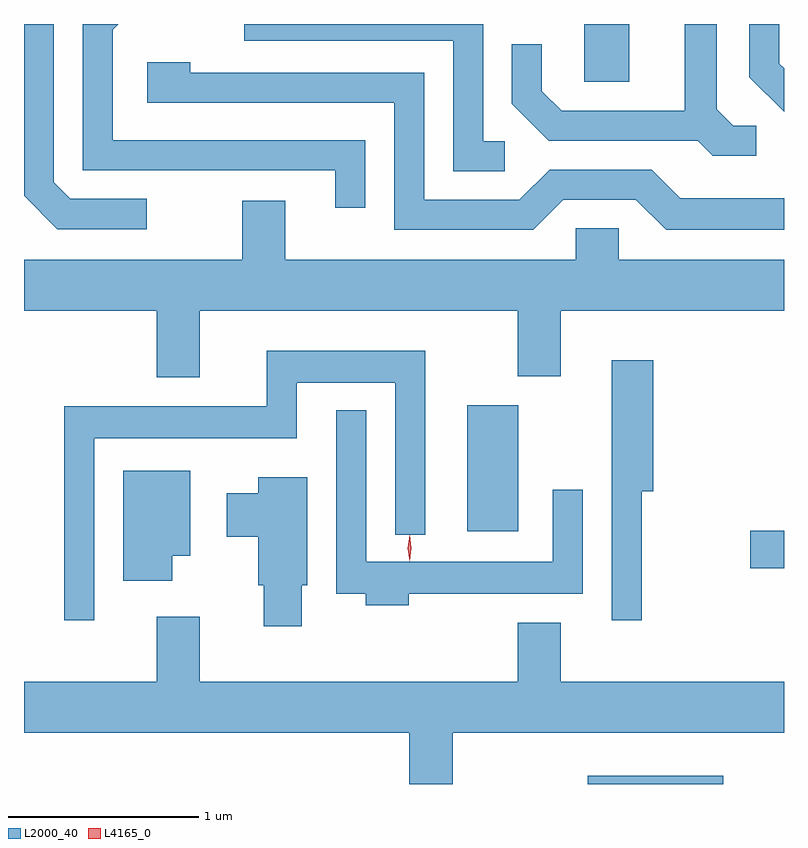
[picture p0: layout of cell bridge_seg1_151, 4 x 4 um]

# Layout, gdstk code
import gdstk
lib = gdstk.Library(unit=1e-6, precision=1e-09)
def R(c, l, rs):  # rectangles x0, y0, x1, y1
    for r in rs: c.add(gdstk.rectangle(r[:2], r[2:], *l))
def P(c, l, *ps):  # polygons
    for p in ps: c.add(gdstk.Polygon(p, *l))
L2000_40 = (2000, 40)
L4165_0 = (4165, 0)

bridge_seg1_151 = lib.new_cell('bridge_seg1_151')
R(bridge_seg1_151, L2000_40, [(846.371,917.065,847.084,917.109), (847.226,918.201,847.403,918.399), (845.736,918.396,846.004,919.059), (846.351,920.761,846.589,921.065)])
P(bridge_seg1_151, L2000_40, [(845.199,920.454),(843.869,920.454),(843.869,921.034),(843.9,921.065),(843.711,921.065),(843.711,920.296),(845.041,920.296),(845.041,920.098),(845.199,920.098)],
  [(847.258,920.529),(847.137,920.529),(847.049,920.617),(847.049,921.065),(846.881,921.065),(846.881,920.609),(846.232,920.609),(846.129,920.712),(846.129,920.958),(845.971,920.958),(845.971,920.644),(846.164,920.451),(846.949,920.451),(847.029,920.371),(847.258,920.371)],
  [(844.048,920.144),(843.647,920.144),(843.559,920.232),(843.559,921.065),(843.403,921.065),(843.403,920.162),(843.579,919.986),(844.048,919.986)],
  [(845.933,920.449),(845.819,920.449),(845.819,921.065),(844.563,921.065),(844.563,920.976),(845.661,920.976),(845.661,920.291),(845.933,920.291)],
  [(847.403,920.833),(847.379,920.857),(847.379,921.065),(847.221,921.065),(847.221,920.784),(847.403,920.602)],
  [(846.242,920.141),(846.624,920.141),(846.784,919.981),(847.403,919.981),(847.403,920.149),(846.857,920.149),(846.707,920.299),(846.169,920.299),(846.009,920.139),(845.509,920.139),(845.509,920.809),(844.279,920.809),(844.279,920.864),(844.051,920.864),(844.051,920.651),(845.351,920.651),(845.351,919.981),(846.082,919.981)],
  [(844.329,919.556),(846.001,919.556),(846.001,919.211),(846.229,919.211),(846.229,919.556),(847.403,919.556),(847.403,919.824),(846.534,919.824),(846.534,919.989),(846.306,919.989),(846.306,919.824),(844.779,919.824),(844.779,920.134),(844.551,920.134),(844.551,919.824),(843.403,919.824),(843.403,919.556),(844.101,919.556),(844.101,919.206),(844.329,919.206)],
  [(843.774,918.886),(844.839,918.886),(844.839,919.176),(845.356,919.176),(845.356,918.378),(845.514,918.378),(845.514,919.344),(844.681,919.344),(844.681,919.054),(843.616,919.054),(843.616,917.928),(843.774,917.928)],
  [(846.654,918.606),(846.714,918.606),(846.714,919.294),(846.496,919.294),(846.496,917.928),(846.654,917.928)],
  [(845.429,918.066),(846.344,918.066),(846.344,918.613),(846.186,918.613),(846.186,918.234),(845.204,918.234),(845.204,919.033),(845.046,919.033),(845.046,918.066),(845.201,918.066),(845.201,918.006),(845.429,918.006)],
  [(844.184,918.266),(844.279,918.266),(844.279,918.714),(843.926,918.714),(843.926,918.136),(844.184,918.136)],
  [(844.864,918.111),(844.894,918.111),(844.894,918.679),(844.636,918.679),(844.636,918.594),(844.471,918.594),(844.471,918.366),(844.636,918.366),(844.636,918.111),(844.666,918.111),(844.666,917.896),(844.864,917.896)],
  [(845.659,917.336),(847.403,917.336),(847.403,917.604),(846.229,917.604),(846.229,917.914),(846.001,917.914),(846.001,917.604),(844.329,917.604),(844.329,917.944),(844.101,917.944),(844.101,917.604),(843.403,917.604),(843.403,917.336),(845.431,917.336),(845.431,917.065),(845.659,917.065)])
P(bridge_seg1_151, L4165_0, [(845.432,918.237),(845.432,918.238),(845.422,918.307),(845.432,918.376),(845.432,918.376),(845.433,918.376),(845.442,918.307),(845.433,918.238)])

lib.write_gds('bridge_seg1_151.gds')
